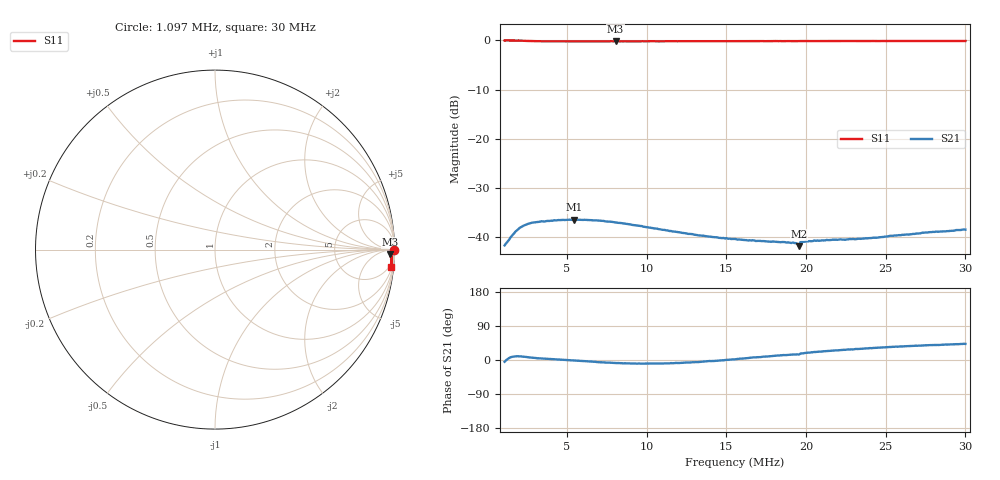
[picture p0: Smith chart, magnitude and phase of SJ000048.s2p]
!File created by NanoVNA-F V2
# Hz S RI R 50
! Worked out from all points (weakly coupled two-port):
!   300 points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, 1.097 MHz to 30 MHz, reference 50 ohm
!   highest |S21| = -36.50 dB at 5.447 MHz (marker M1); lowest = -41.9 dB at 19.56 MHz (marker M2)
!   lowest |S11| = -0.2 dB at 8.057 MHz (marker M3), VSWR 87.65, Z = 1.9e+03 - j2.17e+03 ohm
!   |S11| at or under -10 dB: nowhere
!   S12 and S22 are empty: the file has one direction only
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1096666  0.9986 -0.00228  0.00815 -0.000664  0 0  0 0
1773328  0.9977 -0.0142  0.0111 0.00188  0 0  0 0
2063326  0.9958 -0.0209  0.0122 0.00207  0 0  0 0
2546656  0.9872 -0.0263  0.0134 0.00172  0 0  0 0
3416650  0.9792 -0.0214  0.0144 0.00102  0 0  0 0
5446636  0.9797 -0.0219  0.015 -0.000305  0 0  0 0
5929966  0.9798 -0.0225  0.0149 -0.000708  0 0  0 0
6799960  0.9777 -0.024  0.0147 -0.00123  0 0  0 0
8056618  0.9771 -0.0255  0.0139 -0.00187  0 0  0 0
1.076327e7  0.9783 -0.0314  0.0118 -0.00195  0 0  0 0
1.327658e7  0.9807 -0.0396  0.0103 -0.000971  0 0  0 0
1.559657e7  0.982 -0.0467  0.00949 0.000326  0 0  0 0
1.685322e7  0.983 -0.0505  0.009 0.00108  0 0  0 0
1.917321e7  0.9829 -0.0583  0.00847 0.00217  0 0  0 0
1.946321e7  0.9818 -0.0587  0.0082 0.00217  0 0  0 0
1.955987e7  0.9835 -0.0605  0.00778 0.00198  0 0  0 0
1.965654e7  0.9834 -0.0609  0.00847 0.00258  0 0  0 0
2.042987e7  0.9832 -0.0639  0.00848 0.00317  0 0  0 0
2.216985e7  0.9833 -0.069  0.00848 0.00414  0 0  0 0
2.313651e7  0.9832 -0.0721  0.00825 0.00461  0 0  0 0
2.526317e7  0.9829 -0.0806  0.00846 0.00577  0 0  0 0
2.99998e7  0.9822 -0.0953  0.00874 0.00799  0 0  0 0
